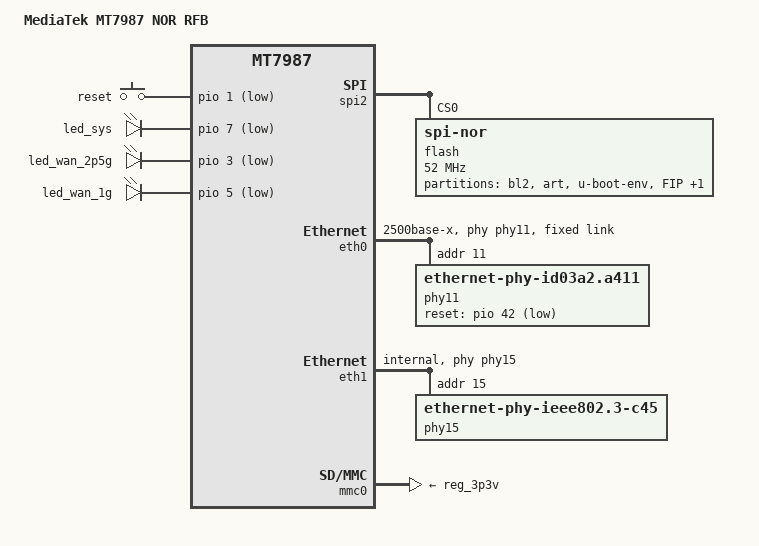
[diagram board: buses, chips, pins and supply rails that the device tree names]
// SPDX-License-Identifier: (GPL-2.0 OR MIT)

/dts-v1/;
#include "mt7987b.dtsi"
#include "mt7987-emmc.dtsi"
#include "mt7987a-u-boot.dtsi"
#include "mt7987-netsys-u-boot.dtsi"
#include <dt-bindings/input/input.h>

/ {
	model = "MediaTek MT7987 NOR RFB";
	compatible = "mediatek,mt7987b-spim-nor", "mediatek,mt7987b", "mediatek,mt7987";

	aliases {
		led-boot = &led_sys;
		led-failsafe = &led_sys;
		led-running = &led_sys;
		led-upgrade = &led_sys;
	};

	chosen {
		bootargs = "console=ttyS0,115200n1 loglevel=8 earlycon=uart8250,mmio32,0x11000000 pci=pcie_bus_perf";
	};

	bl2_verify {
		bl2_compatible = "emmc";
	};

	gpio-keys {
		compatible = "gpio-keys";

		reset {
			label = "reset";
			linux,code = <KEY_RESTART>;
			gpios = <&pio 1 GPIO_ACTIVE_LOW>;
			debounce-interval = <10>;
		};
	};

	gpio-leds {
		compatible = "gpio-leds";

		led_sys: led@0 {
			label = "led_sys";
			gpios = <&pio 7 GPIO_ACTIVE_LOW>;
		};

		led_wan_2p5g: led@1 {
			label = "led_wan_2p5g";
			gpios = <&pio 3 GPIO_ACTIVE_LOW>;
		};

		led_wan_1g: led@2 {
			label = "led_wan_1g";
			gpios = <&pio 5 GPIO_ACTIVE_LOW>;
		};
	};
};


&spi2 {
        pinctrl-names = "default";
        pinctrl-0 = <&spi2_flash_pins>;
        status = "okay";
        #address-cells = <1>;
        #size-cells = <0>;

        flash@0 {
                #address-cells = <1>;
                #size-cells = <1>;
                compatible = "jedec,spi-nor";
                spi-cal-enable;
                spi-cal-mode = "read-data";
                spi-cal-datalen = <7>;
                spi-cal-data = /bits/ 8 <
                        0x53 0x46 0x5F 0x42 0x4F 0x4F 0x54>; /* SF_BOOT */
                spi-cal-addrlen = <1>;
                spi-cal-addr = /bits/ 32 <0x0>;
                reg = <0>;
                spi-max-frequency = <52000000>;
                spi-tx-bus-width = <4>;
                spi-rx-bus-width = <4>;

		partition@0 {
			label = "bl2";
			reg = <0x0 0x40000>;
		};

		partition@40000 {
			label = "art";
			reg = <0x40000 0x10000>;
		};

		partition@50000 {
			label = "u-boot-env";
			reg = <0x50000 0x10000>;
		};

		partition@60000 {
			label = "FIP";
			reg = <0x60000 0x200000>;
		};

		partition@260000 {
			label = "firmware";
			reg = <0x260000 0xda0000>;
		};
        };
};

&eth0 {
        status = "okay";
	pinctrl-names = "default";
	pinctrl-0 = <&mdio0_pins>;
        phy-mode = "2500base-x";
        phy-handle = <&phy11>;
	
	fixed-link {
		speed = <2500>;
		full-duplex;
		pause;
	};

	phy11: ethernet-phy@11 {
                compatible = "ethernet-phy-id03a2.a411";
                reg = <11>;
                phy-mode = "2500base-x";
                airoha,polarity = <1>;
                airoha,surge = <0>;
                airoha,phy-handle;
                reset-gpios = <&pio 42 GPIO_ACTIVE_LOW>;
                reset-assert-us = <10000>;
                reset-deassert-us = <10000>;
        };
};

&eth1 {
        status = "okay";
	pinctrl-names = "i2p5gbe-led";
        pinctrl-0 = <&i2p5gbe_led0_pins>;
        phy-mode = "internal";
        phy-handle = <&phy15>;
		
	phy15: ethernet-phy@15 {
                compatible = "ethernet-phy-ieee802.3-c45";
                reg = <15>;
                phy-mode = "internal";
        };
};

&mmc0 {
	vmmc-supply = <&reg_3p3v>;
	vqmmc-supply = <&reg_3p3v>;
	status = "okay";
};
